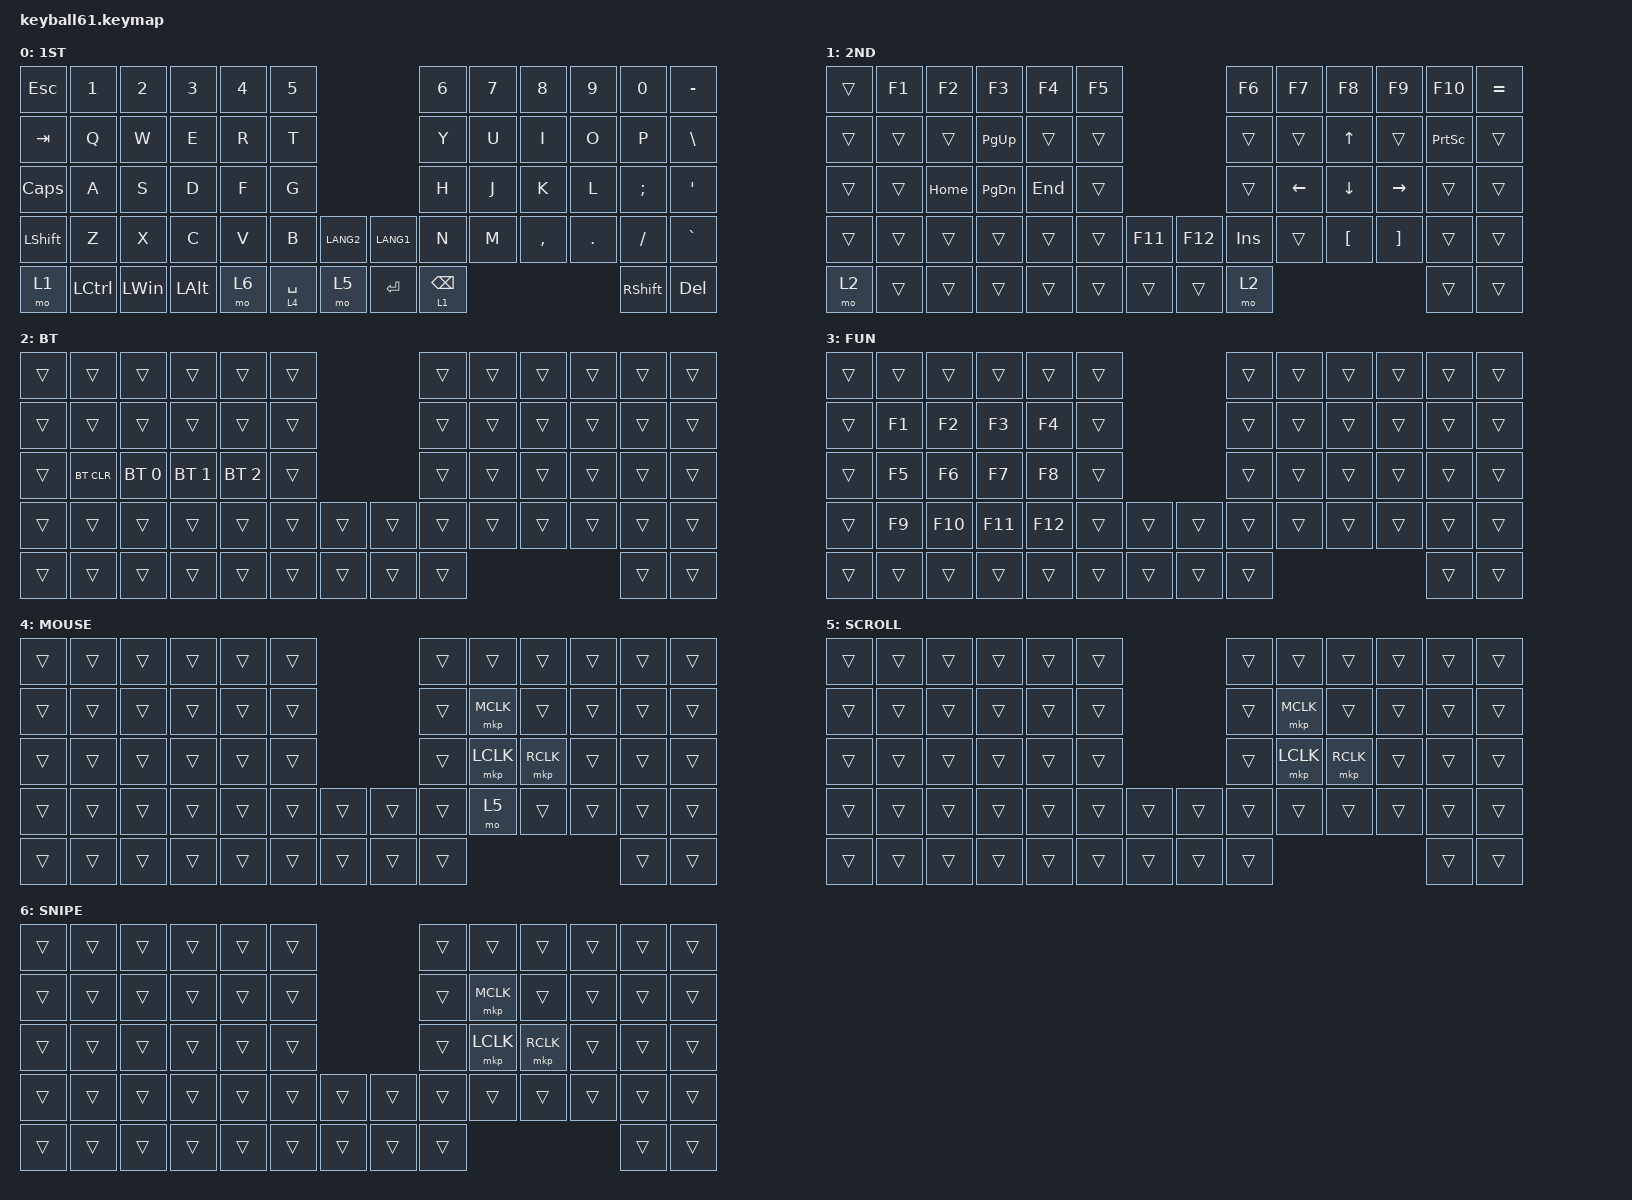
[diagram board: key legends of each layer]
#define DEFAULT 0
#define SYM     1
#define FUN     2
#define MOUSE   3
#define SCROLL  4
#define SNIPE   5

#include <behaviors/mouse_keys.dtsi>
#include <dt-bindings/zmk/mouse.h>
#include <behaviors.dtsi>
#include <dt-bindings/zmk/bt.h>
#include <dt-bindings/zmk/keys.h>
#include <dt-bindings/zmk/pointing.h>

&nice_view_spi { cs-gpios = <&pro_micro 1 GPIO_ACTIVE_HIGH>; };

&lt {
    tapping-term-ms = <240>;
    flavor = "balanced";
    quick-tap-ms = <150>;
};

&mt {
    tapping-term-ms = <200>;
    flavor = "tap-preferred";
    quick-tap-ms = <150>;
};

/ {
    keymap {
        compatible = "zmk,keymap";

        default_layer {
            label = "1ST";
            bindings = <
&kp ESC         &kp N1     &kp N2        &kp N3        &kp N4  &kp N5                             &kp N6           &kp N7  &kp N8     &kp N9   &kp N0           &kp MINUS
&kp TAB         &kp Q      &kp W         &kp E         &kp R   &kp T                              &kp Y            &kp U   &kp I      &kp O    &kp P            &kp BACKSLASH
&kp CAPS        &kp A      &kp S         &kp D         &kp F   &kp G                              &kp H            &kp J   &kp K      &kp L    &kp SEMI         &kp SQT
&kp LEFT_SHIFT  &kp Z      &kp X         &kp C         &kp V   &kp B        &kp LANG2  &kp LANG1  &kp N            &kp M   &kp COMMA  &kp DOT  &kp FSLH         &kp GRAVE
&mo 1           &kp LCTRL  &kp LEFT_WIN  &kp LEFT_ALT  &mo 6   &lt 4 SPACE  &mo 5      &kp ENTER  &lt 1 BACKSPACE                              &kp RIGHT_SHIFT  &kp DELETE
            >;
        };

        second_layer {
            bindings = <
&trans  &kp F1  &kp F2    &kp F3         &kp F4   &kp F5                    &kp F6      &kp F7          &kp F8            &kp F9             &kp F10          &kp EQUAL
&trans  &trans  &trans    &kp PAGE_UP    &trans   &trans                    &trans      &trans          &kp UP_ARROW      &trans             &kp PRINTSCREEN  &trans
&trans  &trans  &kp HOME  &kp PAGE_DOWN  &kp END  &trans                    &trans      &kp LEFT_ARROW  &kp DOWN_ARROW    &kp RIGHT_ARROW    &trans           &trans
&trans  &trans  &trans    &trans         &trans   &trans  &kp F11  &kp F12  &kp INSERT  &trans          &kp LEFT_BRACKET  &kp RIGHT_BRACKET  &trans           &trans
&mo 2   &trans  &trans    &trans         &trans   &trans  &trans   &trans   &mo 2                                                            &trans           &trans
            >;

            label = "2ND";
        };

        bt_layer {
            label = "BT";
            bindings = <
&trans  &trans      &trans        &trans        &trans        &trans                  &trans  &trans  &trans  &trans  &trans  &trans
&trans  &trans      &trans        &trans        &trans        &trans                  &trans  &trans  &trans  &trans  &trans  &trans
&trans  &bt BT_CLR  &bt BT_SEL 0  &bt BT_SEL 1  &bt BT_SEL 2  &trans                  &trans  &trans  &trans  &trans  &trans  &trans
&trans  &trans      &trans        &trans        &trans        &trans  &trans  &trans  &trans  &trans  &trans  &trans  &trans  &trans
&trans  &trans      &trans        &trans        &trans        &trans  &trans  &trans  &trans                          &trans  &trans
            >;
        };

        function_layer {
            label = "FUN";
            bindings = <
&trans  &trans  &trans   &trans   &trans   &trans                  &trans  &trans  &trans  &trans  &trans  &trans
&trans  &kp F1  &kp F2   &kp F3   &kp F4   &trans                  &trans  &trans  &trans  &trans  &trans  &trans
&trans  &kp F5  &kp F6   &kp F7   &kp F8   &trans                  &trans  &trans  &trans  &trans  &trans  &trans
&trans  &kp F9  &kp F10  &kp F11  &kp F12  &trans  &trans  &trans  &trans  &trans  &trans  &trans  &trans  &trans
&trans  &trans  &trans   &trans   &trans   &trans  &trans  &trans  &trans                          &trans  &trans
            >;
        };

        mouse_layer {
            label = "MOUSE";
            bindings = <
&trans  &trans  &trans  &trans  &trans  &trans                  &trans  &trans     &trans     &trans  &trans  &trans
&trans  &trans  &trans  &trans  &trans  &trans                  &trans  &mkp MCLK  &trans     &trans  &trans  &trans
&trans  &trans  &trans  &trans  &trans  &trans                  &trans  &mkp LCLK  &mkp RCLK  &trans  &trans  &trans
&trans  &trans  &trans  &trans  &trans  &trans  &trans  &trans  &trans  &mo 5      &trans     &trans  &trans  &trans
&trans  &trans  &trans  &trans  &trans  &trans  &trans  &trans  &trans                                &trans  &trans
            >;
        };

        scroll_layer {
            label = "SCROLL";
            bindings = <
&trans  &trans  &trans  &trans  &trans  &trans                  &trans  &trans     &trans     &trans  &trans  &trans
&trans  &trans  &trans  &trans  &trans  &trans                  &trans  &mkp MCLK  &trans     &trans  &trans  &trans
&trans  &trans  &trans  &trans  &trans  &trans                  &trans  &mkp LCLK  &mkp RCLK  &trans  &trans  &trans
&trans  &trans  &trans  &trans  &trans  &trans  &trans  &trans  &trans  &trans     &trans     &trans  &trans  &trans
&trans  &trans  &trans  &trans  &trans  &trans  &trans  &trans  &trans                                &trans  &trans
            >;
        };

        snipe_layer {
            label = "SNIPE";
            bindings = <
&trans  &trans  &trans  &trans  &trans  &trans                  &trans  &trans     &trans     &trans  &trans  &trans
&trans  &trans  &trans  &trans  &trans  &trans                  &trans  &mkp MCLK  &trans     &trans  &trans  &trans
&trans  &trans  &trans  &trans  &trans  &trans                  &trans  &mkp LCLK  &mkp RCLK  &trans  &trans  &trans
&trans  &trans  &trans  &trans  &trans  &trans  &trans  &trans  &trans  &trans     &trans     &trans  &trans  &trans
&trans  &trans  &trans  &trans  &trans  &trans  &trans  &trans  &trans                                &trans  &trans
            >;
        };
    };
};
